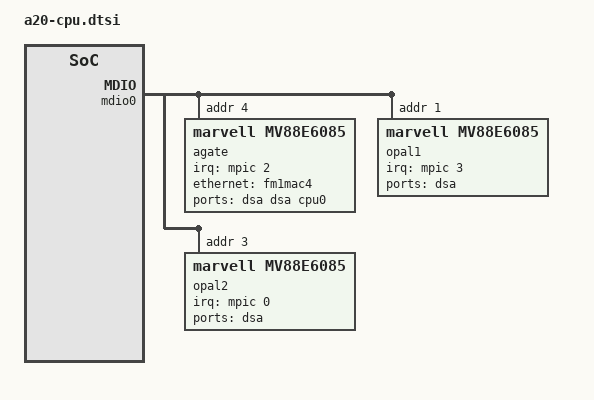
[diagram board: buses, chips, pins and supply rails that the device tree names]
#include <common/mv6.h>

#include "a-common.dtsi"

&mdio0 {
	agate: switch@4 {
		compatible = "marvell,mv88e6085";
		reg = <0x4>;

		dsa,member = <0 0>;
		dsa,num_tx_queues = <8>;

		interrupts = <2 1 0 0>;
		interrupt-parent = <&mpic>;
		interrupt-controller;
		#interrupt-cells = <2>;

		ports {
			#address-cells = <0x1>;
			#size-cells = <0x0>;

			dsa02: port@4 {
				reg = <0x4>;
				label = "dsa";
				link = <&dsa20>;
				phy-mode = "sgmii";

				fixed-link {
					speed = <1000>;
					full-duplex;
				};
			};

			dsa01: port@5 {
				reg = <0x5>;
				label = "dsa";
				link = <&dsa10>;
				phy-mode = "rgmii-id";

				fixed-link {
					speed = <1000>;
					full-duplex;
				};
			};

			port@6 {
				reg = <0x6>;
				label = "cpu0";
				ethernet = <&fm1mac4>;
				phy-mode = "rgmii-id";

				fixed-link {
					speed = <1000>;
					full-duplex;
				};
			};

			mv6_port(0, "ethX6" , &aphy0, "gmii");
			mv6_port(1, "ethX7" , &aphy1, "gmii");
			mv6_port(2, "ethX14", &aphy2, "gmii");
			mv6_port(3, "ethX8" , &aphy3, "gmii");
		};

		mdio {
			#address-cells = <0x1>;
			#size-cells = <0x0>;
			interrupt-parent = <&agate>;

			aphy0: mv6_phy(0);
			aphy1: mv6_phy(1);
			aphy2: mv6_phy(2);
			aphy3: mv6_phy(3);
		};
	};

	opal1: switch@1 {
		compatible = "marvell,mv88e6085";
		reg = <0x1>;

		dsa,member = <0 1>;
		dsa,num_tx_queues = <4>;

		interrupts = <3 1 0 0>;
		interrupt-parent = <&mpic>;
		interrupt-controller;
		#interrupt-cells = <2>;

		ports {
			#address-cells = <1>;
			#size-cells = <0>;

			dsa10: port@a {
				reg = <0xa>;
				label = "dsa";
				link = <&dsa01 &dsa20>;
				phy-mode = "rgmii";

				fixed-link {
					speed = <1000>;
					full-duplex;
				};
			};

			mv6_port(0, "ethX5" , &o1phy0, "mii");
			mv6_port(1, "ethX11", &o1phy1, "mii");
			mv6_port(2, "ethX12", &o1phy2, "mii");
			mv6_port(3, "ethX13", &o1phy3, "mii");
			mv6_port(4, "ethX17", &o1phy4, "mii");
			mv6_port(5, "ethX18", &o1phy5, "mii");
			mv6_port(6, "ethX19", &o1phy6, "mii");
			mv6_port(7, "ethX20", &o1phy7, "mii");
		};

		mdio {
			#address-cells = <1>;
			#size-cells = <0>;
			interrupt-parent = <&opal1>;

			o1phy0: mv6_phy(0);
			o1phy1: mv6_phy(1);
			o1phy2: mv6_phy(2);
			o1phy3: mv6_phy(3);
			o1phy4: mv6_phy(4);
			o1phy5: mv6_phy(5);
			o1phy6: mv6_phy(6);
			o1phy7: mv6_phy(7);
		};
	};

	opal2: switch@3 {
		compatible = "marvell,mv88e6085";
		reg = <0x3>;

		dsa,member = <0 2>;
		dsa,num_tx_queues = <4>;

		interrupts = <0 1 0 0>;
		interrupt-parent = <&mpic>;
		interrupt-controller;
		#interrupt-cells = <2>;

		ports {
			#address-cells = <1>;
			#size-cells = <0>;

			dsa20: port@a {
				reg = <0xa>;
				label = "dsa";
				link = <&dsa02 &dsa10>;
				phy-mode = "sgmii";

				fixed-link {
					speed = <1000>;
					full-duplex;
				};
			};

			mv6_port(0, "ethX2" , &o2phy0, "mii");
			mv6_port(1, "ethX4" , &o2phy1, "mii");
			mv6_port(2, "ethX1" , &o2phy2, "mii");
			mv6_port(3, "ethX3" , &o2phy3, "mii");
			mv6_port(4, "ethX10", &o2phy4, "mii");
			mv6_port(5, "ethX9" , &o2phy5, "mii");
			mv6_port(6, "ethX15", &o2phy6, "mii");
			mv6_port(7, "ethX16", &o2phy7, "mii");
		};

		mdio {
			#address-cells = <1>;
			#size-cells = <0>;
			interrupt-parent = <&opal2>;

			o2phy0: mv6_phy(0);
			o2phy1: mv6_phy(1);
			o2phy2: mv6_phy(2);
			o2phy3: mv6_phy(3);
			o2phy4: mv6_phy(4);
			o2phy5: mv6_phy(5);
			o2phy6: mv6_phy(6);
			o2phy7: mv6_phy(7);
		};
	};
};
